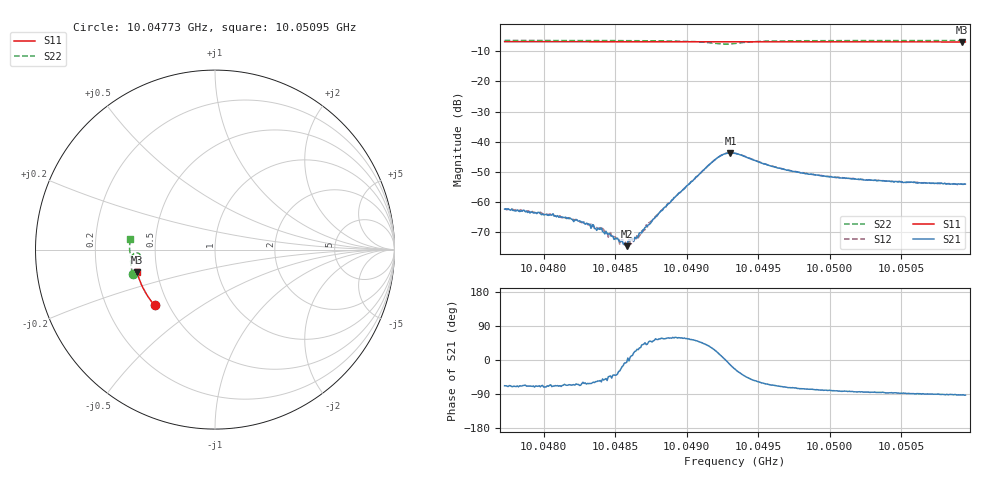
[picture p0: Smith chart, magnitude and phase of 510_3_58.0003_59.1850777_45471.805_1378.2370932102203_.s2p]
#  HZ  S  RI  R  50.00
! Rohde & Schwarz Vector Network Analyzer
! Rohde-Schwarz,ZNB20-2Port,1311601062101988,3.16
! Created: UTC 3/21/2024, 1:13:09 AM
! freq[Hz]  re:S11  im:S11  re:S21  im:S21  re:S12  im:S12  re:S22  im:S22
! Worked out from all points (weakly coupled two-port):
!   401 points, 10.04773 GHz to 10.05095 GHz, reference 50 ohm
!   highest |S21| = -43.66 dB at 10.04931 GHz (marker M1); lowest = -74.6 dB at 10.04858 GHz (marker M2)
!   lowest |S11| = -6.9 dB at 10.05092 GHz (marker M3), VSWR 2.65, Z = 19.2 - j6.1 ohm
!   |S11| at or under -10 dB: nowhere
!   |S22| runs from -7.6 to -6.4 dB; largest |S21 - S12| = 0.00048
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1.0047728e10  -0.337 -0.3099  0.000288 -0.00071  0.000344 -0.000684  -0.4588 -0.136
1.004805e10  -0.3503 -0.2934  0.000256 -0.000559  0.000275 -0.000569  -0.4638 -0.1141
1.0048187e10  -0.356 -0.2863  0.000221 -0.000494  0.000249 -0.000479  -0.4656 -0.1045
1.0048267e10  -0.3592 -0.2821  0.000216 -0.000412  0.000216 -0.000405  -0.4667 -0.0988
1.0048404e10  -0.3644 -0.2749  0.0002 -0.000316  0.000222 -0.000271  -0.4681 -0.0886
1.0048549e10  -0.3699 -0.2669  0.000224 -7.13e-05  0.000225 -8.32e-05  -0.4692 -0.0772
1.0048573e10  -0.3706 -0.2657  0.000199 -2.76e-05  0.000215 -3.15e-05  -0.4692 -0.0755
1.0048581e10  -0.3711 -0.2652  0.000186 -1.92e-05  0.000223 -1.09e-05  -0.4694 -0.0748
1.0048621e10  -0.3725 -0.263  0.000245 5.24e-05  0.000229 7.98e-05  -0.4693 -0.0715
1.0048646e10  -0.3733 -0.2618  0.000236 0.000105  0.000216 0.000118  -0.4695 -0.0694
1.0048662e10  -0.3741 -0.2608  0.000247 0.000127  0.000214 0.000141  -0.4695 -0.068
1.0048806e10  -0.379 -0.2528  0.000374 0.000544  0.000335 0.00058  -0.469 -0.0548
1.0049193e10  -0.3916 -0.2306  0.00439 0.00227  0.00425 0.00254  -0.4297 -0.019
1.0049249e10  -0.3931 -0.2276  0.00604 0.000905  0.00599 0.00128  -0.416 -0.0307
1.0049305e10  -0.3948 -0.2245  0.00639 -0.00147  0.00651 -0.00109  -0.4158 -0.0504
1.0049338e10  -0.3958 -0.2228  0.00587 -0.00262  0.00608 -0.00226  -0.4226 -0.059
1.0049627e10  -0.4048 -0.2059  0.0014 -0.00348  0.00162 -0.00345  -0.4676 -0.042
1.0049877e10  -0.4116 -0.1911  0.00064 -0.00283  0.000764 -0.00277  -0.4741 -0.0181
1.0050078e10  -0.4167 -0.1788  0.000325 -0.0025  0.000489 -0.00249  -0.4756 -0.00158
1.0050416e10  -0.4244 -0.1581  0.000131 -0.00223  0.000265 -0.00224  -0.4755 0.0235
1.0050923e10  -0.4341 -0.1265  -9.14e-05 -0.00198  4.62e-05 -0.002  -0.4723 0.0587
1.0050947e10  -0.4347 -0.1248  -9.46e-05 -0.00199  6.3e-05 -0.00201  -0.4722 0.0605
